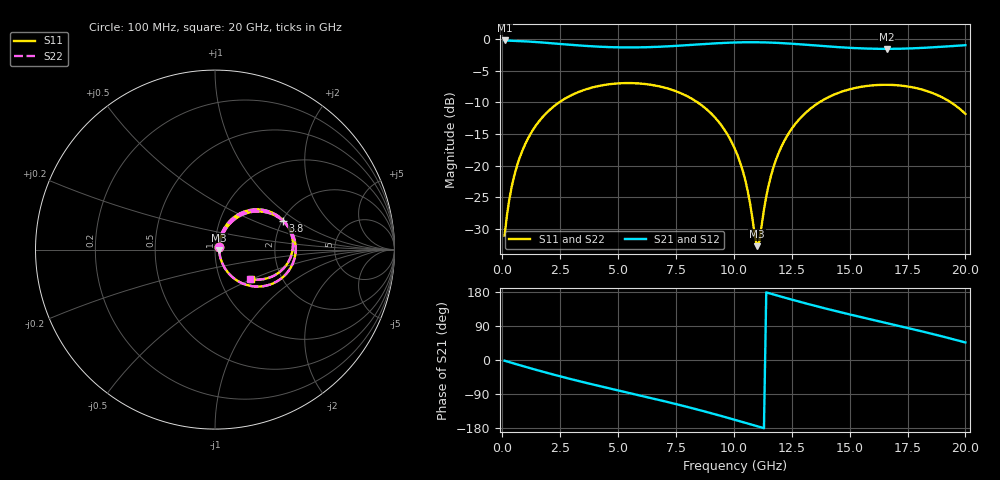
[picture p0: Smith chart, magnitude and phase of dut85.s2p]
! Touchstone file exported from HFSS 2026.1.0
!  File:  C:/ffzhzh/LocalFiles/Ansys_Project_Files/temp_train_TSV_RDL_85_1782972171_15332.aedt
!  Generated:  02:18:04 PM Jul  2, 2026
!  Design:  TSV_RDL
!  Project:  temp_train_TSV_RDL_85_1782972171_15332
! Variables:
!  h_bsmrdl = 3.17um
!  h_ox = 20um
!  h_rdl = 5um
!  h_sub = 50.89um
!  h_tmrdl = 5.55um
!  h_tsv = 50.89um
!  h_via = 3um
!  l_bsmrdl = 629.13um
!  l_sub = 5660.33um
!  l_tmrdl = 805.69um
!  m_sub = 200um
!  pitch = 42.98um
!  r_tsv = 3.08um
!  s_tmrdl = 10um
!  w_bsmrdl = 29.58um
!  w_sub = 500um
!  w_tmrdl = 20.48um
!  x_tsv_center1 = 815.93um
!  x_tsv_center2 = 1474.64um
!  x_tsv_center3 = 2300.81um
!  x_tsv_center4 = 2959.52um
!  x_tsv_center5 = 3785.69um
!  x_tsv_center6 = 4444.4um
# GHz S MA R 50.000000
! Terminal data exported
! Port[1] = TM_RDL1_1_T1
! Port[2] = TM_RDL5_1_T1
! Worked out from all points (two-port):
!   200 points, 100 MHz to 20 GHz, reference 50 ohm
!   highest |S21| = -0.20 dB at 100 MHz (marker M1); lowest = -1.5 dB at 16.6 GHz (marker M2)
!   |S21| within 3 dB of the highest: start of sweep to end of sweep
!   lowest |S11| = -32.8 dB at 11 GHz (marker M3), VSWR 1.05, Z = 52.3 - j0.212 ohm
!   |S11| at or under -10 dB: start of sweep to 2.454 GHz; 8.436 GHz to 13.69 GHz (5.249 GHz wide, 47.5 % of centre); 19.38 GHz to end of sweep
!   |S22| runs from -32.7 to -6.9 dB; largest |S21 - S12| = 1.8e-14
!   S11 on the Smith chart (normalised r, x): 100 MHz: 1.05, +0.03; 3.8 GHz: 2.01, +0.78; 20 GHz: 1.39, -0.49
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0.1  0.02793 35.1  0.9776 -1.9  0.9776 -1.9  0.02793 35.1
! Gamma 0 0 0 0
! Port Impedance 50 0 50 0
0.5  0.08084 62.1  0.9711 -9.2  0.9711 -9.2  0.08084 62.1
1.1  0.1625 60.4  0.9592 -19.8  0.9592 -19.8  0.1625 60.4
2.1  0.2815 47.4  0.9301 -36.7  0.9301 -36.7  0.2815 47.4
3.5  0.3949 27.3  0.8876 -58.5  0.8876 -58.5  0.3949 27.3
3.8  0.4109 23.1  0.8804 -63.0  0.8804 -63.0  0.4109 23.1
5.3  0.4496 2.7  0.8611 -84.5  0.8611 -84.5  0.4496 2.7
6.8  0.4229 -17.6  0.8719 -105.9  0.8719 -105.9  0.4229 -17.6
8.8  0.2814 -45.8  0.9178 -136.8  0.9178 -136.8  0.2814 -45.8
10.1  0.1284 -61.6  0.9428 -158.8  0.9428 -158.8  0.1284 -61.6
10.6  0.06291 -59.0  0.9464 -167.6  0.9464 -167.6  0.06292 -59.0
11  0.02303 -5.0  0.9461 -174.6  0.9461 -174.6  0.02305 -5.1
11.1  0.0252 26.3  0.9455 -176.4  0.9455 -176.4  0.02521 26.3
11.5  0.06963 65.3  0.9417 176.6  0.9417 176.6  0.06963 65.2
11.9  0.1214 66.8  0.9352 169.6  0.9352 169.6  0.1214 66.8
12.5  0.1956 61.1  0.9216 159.4  0.9216 159.4  0.1955 61.1
13.4  0.2909 49.1  0.8961 144.6  0.8961 144.6  0.2909 49.0
14.9  0.3968 28.4  0.8568 121.8  0.8568 121.8  0.3968 28.4
16.6  0.4359 5.8  0.8387 97.5  0.8387 97.5  0.4359 5.8
16.7  0.4356 4.5  0.8388 96.0  0.8388 96.0  0.4356 4.5
18.5  0.3798 -19.4  0.8607 69.9  0.8607 69.9  0.3798 -19.5
20  0.2566 -39.5  0.8966 46.2  0.8966 46.2  0.2566 -39.6
